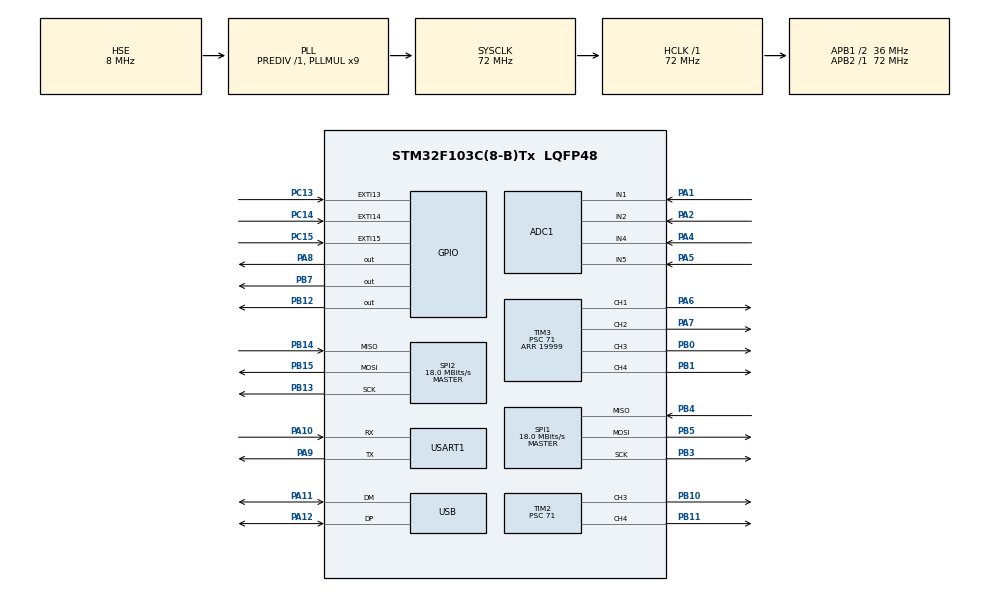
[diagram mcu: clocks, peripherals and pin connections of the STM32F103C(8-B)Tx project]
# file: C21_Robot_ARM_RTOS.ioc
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ADC1.Channel-0\#ChannelRegularConversion=ADC_CHANNEL_2
ADC1.Channel-1\#ChannelRegularConversion=ADC_CHANNEL_1
ADC1.Channel-2\#ChannelRegularConversion=ADC_CHANNEL_4
ADC1.Channel-3\#ChannelRegularConversion=ADC_CHANNEL_5
ADC1.ContinuousConvMode=ENABLE
ADC1.NbrOfConversion=4
ADC1.NbrOfConversionFlag=1
ADC1.Rank-0\#ChannelRegularConversion=1
ADC1.Rank-1\#ChannelRegularConversion=2
ADC1.Rank-2\#ChannelRegularConversion=3
ADC1.Rank-3\#ChannelRegularConversion=4
ADC1.SamplingTime-0\#ChannelRegularConversion=ADC_SAMPLETIME_239CYCLES_5
ADC1.SamplingTime-1\#ChannelRegularConversion=ADC_SAMPLETIME_239CYCLES_5
ADC1.SamplingTime-2\#ChannelRegularConversion=ADC_SAMPLETIME_239CYCLES_5
ADC1.SamplingTime-3\#ChannelRegularConversion=ADC_SAMPLETIME_239CYCLES_5
ADC1.master=1
Dma.ADC1.0.Direction=DMA_PERIPH_TO_MEMORY
Dma.ADC1.0.Instance=DMA1_Channel1
Dma.ADC1.0.MemDataAlignment=DMA_MDATAALIGN_HALFWORD
Dma.ADC1.0.MemInc=DMA_MINC_ENABLE
Dma.ADC1.0.Mode=DMA_CIRCULAR
Dma.ADC1.0.PeriphDataAlignment=DMA_PDATAALIGN_HALFWORD
Dma.ADC1.0.PeriphInc=DMA_PINC_DISABLE
Dma.ADC1.0.Priority=DMA_PRIORITY_LOW
Dma.Request0=ADC1
FATFS._FS_TINY=1
FATFS._USE_LFN=2
FREERTOS.Tasks01=control_servo,3,128,StartDefaultTask,Default,NULL,Dynamic,NULL,NULL;update_lcd,0,128,update_state,Default,NULL,Dynamic,NULL,NULL
Mcu.Family=STM32F1
Mcu.Name=STM32F103C(8-B)Tx
Mcu.Package=LQFP48
NVIC.DMA1_Channel1_IRQn=true\:0\:0\:false\:false\:true\:true\:false\:true
NVIC.PriorityGroup=NVIC_PRIORITYGROUP_4
NVIC.TIM4_IRQn=true\:0\:0\:false\:false\:true\:false\:false\:true
NVIC.TimeBase=TIM4_IRQn
NVIC.TimeBaseIP=TIM4
NVIC.USB_LP_CAN1_RX0_IRQn=true\:0\:0\:false\:false\:true\:false\:false\:true
PA1.Signal=ADCx_IN1
PA10.Mode=Asynchronous
PA10.Signal=USART1_RX
PA11.Mode=Device
PA11.Signal=USB_DM
PA12.Mode=Device
PA12.Signal=USB_DP
PA13.Mode=Serial_Wire
PA13.Signal=SYS_JTMS-SWDIO
PA14.Mode=Serial_Wire
PA14.Signal=SYS_JTCK-SWCLK
PA2.Signal=ADCx_IN2
PA4.Signal=ADCx_IN4
PA5.Signal=ADCx_IN5
PA6.Signal=S_TIM3_CH1
PA7.Signal=S_TIM3_CH2
PA8.Signal=GPIO_Output
PA9.Mode=Asynchronous
PA9.Signal=USART1_TX
PB0.Signal=S_TIM3_CH3
PB1.Signal=S_TIM3_CH4
PB10.Signal=S_TIM2_CH3
PB11.Signal=S_TIM2_CH4
PB12.Signal=GPIO_Output
PB13.Mode=Full_Duplex_Master
PB13.Signal=SPI2_SCK
PB14.Mode=Full_Duplex_Master
PB14.Signal=SPI2_MISO
PB15.Mode=Full_Duplex_Master
PB15.Signal=SPI2_MOSI
PB3.Mode=Full_Duplex_Master
PB3.Signal=SPI1_SCK
PB4.Mode=Full_Duplex_Master
PB4.Signal=SPI1_MISO
PB5.Mode=Full_Duplex_Master
PB5.Signal=SPI1_MOSI
PB7.Signal=GPIO_Output
PC13-TAMPER-RTC.Signal=GPXTI13
PC14-OSC32_IN.Signal=GPXTI14
PC15-OSC32_OUT.Signal=GPXTI15
PD0-OSC_IN.Mode=HSE-External-Oscillator
PD0-OSC_IN.Signal=RCC_OSC_IN
PD1-OSC_OUT.Mode=HSE-External-Oscillator
PD1-OSC_OUT.Signal=RCC_OSC_OUT
ProjectManager.HeapSize=0x200
ProjectManager.StackSize=0x400
ProjectManager.TargetToolchain=STM32CubeIDE
RCC.ADCPresc=RCC_ADCPCLK2_DIV8
RCC.AHBFreq_Value=72000000
RCC.APB1CLKDivider=RCC_HCLK_DIV2
RCC.APB1Freq_Value=36000000
RCC.APB1TimFreq_Value=72000000
RCC.APB2Freq_Value=72000000
RCC.APB2TimFreq_Value=72000000
RCC.HCLKFreq_Value=72000000
RCC.PLLMUL=RCC_PLL_MUL9
RCC.SYSCLKFreq_VALUE=72000000
RCC.SYSCLKSource=RCC_SYSCLKSOURCE_PLLCLK
RCC.USBFreq_Value=48000000
RCC.USBPrescaler=RCC_USBCLKSOURCE_PLL_DIV1_5
SH.ADCx_IN1.0=ADC1_IN1,IN1
SH.ADCx_IN2.0=ADC1_IN2,IN2
SH.ADCx_IN4.0=ADC1_IN4,IN4
SH.ADCx_IN5.0=ADC1_IN5,IN5
SH.S_TIM2_CH3.0=TIM2_CH3,PWM Generation3 CH3
SH.S_TIM2_CH4.0=TIM2_CH4,PWM Generation4 CH4
SH.S_TIM3_CH1.0=TIM3_CH1,PWM Generation1 CH1
SH.S_TIM3_CH2.0=TIM3_CH2,PWM Generation2 CH2
SH.S_TIM3_CH3.0=TIM3_CH3,PWM Generation3 CH3
SH.S_TIM3_CH4.0=TIM3_CH4,PWM Generation4 CH4
SPI1.BaudRatePrescaler=SPI_BAUDRATEPRESCALER_4
SPI1.CalculateBaudRate=18.0 MBits/s
SPI1.Direction=SPI_DIRECTION_2LINES
SPI1.Mode=SPI_MODE_MASTER
SPI1.VirtualType=VM_MASTER
SPI2.CalculateBaudRate=18.0 MBits/s
SPI2.Direction=SPI_DIRECTION_2LINES
SPI2.Mode=SPI_MODE_MASTER
SPI2.VirtualType=VM_MASTER
TIM2.Channel-PWM\ Generation3\ CH3=TIM_CHANNEL_3
TIM2.Channel-PWM\ Generation4\ CH4=TIM_CHANNEL_4
TIM2.Period=19999
TIM2.Prescaler=71
TIM3.Channel-PWM\ Generation1\ CH1=TIM_CHANNEL_1
TIM3.Channel-PWM\ Generation2\ CH2=TIM_CHANNEL_2
TIM3.Channel-PWM\ Generation3\ CH3=TIM_CHANNEL_3
TIM3.Channel-PWM\ Generation4\ CH4=TIM_CHANNEL_4
TIM3.Period=19999
TIM3.Prescaler=71
USART1.VirtualMode=VM_ASYNC
USB_DEVICE.CLASS_NAME_FS=CDC
USB_DEVICE.VirtualMode=Cdc
USB_DEVICE.VirtualModeFS=Cdc_FS
VP_FATFS_VS_Generic.Mode=User_defined
VP_FREERTOS_VS_CMSIS_V1.Mode=CMSIS_V1
VP_SYS_VS_tim4.Mode=TIM4
VP_TIM1_VS_ClockSourceINT.Mode=Internal
VP_TIM3_VS_ClockSourceINT.Mode=Internal
VP_USB_DEVICE_VS_USB_DEVICE_CDC_FS.Mode=CDC_FS
board=custom

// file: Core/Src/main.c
/* USER CODE BEGIN Header */
/**
  ******************************************************************************
  * @file           : main.c
  * @brief          : Main program body
  ******************************************************************************
  * @attention
  *
  * <h2><center>&copy; Copyright (c) 2020 STMicroelectronics.
  * All rights reserved.</center></h2>
  *
  * This software component is licensed by ST under BSD 3-Clause license,
  * the "License"; You may not use this file except in compliance with the
  * License. You may obtain a copy of the License at:
  *                        opensource.org/licenses/BSD-3-Clause
  *
  ******************************************************************************
  */
/* USER CODE END Header */
#include "main.h"
#include "cmsis_os.h"
#include "fatfs.h"
#include "usb_device.h"
#include "usbd_cdc_if.h"
/* USER CODE BEGIN Includes */
#include "st7735.h"
/* USER CODE END Includes */

ADC_HandleTypeDef hadc1;
DMA_HandleTypeDef hdma_adc1;

SPI_HandleTypeDef hspi1;
SPI_HandleTypeDef hspi2;

TIM_HandleTypeDef htim1;
TIM_HandleTypeDef htim2;
TIM_HandleTypeDef htim3;

UART_HandleTypeDef huart1;

osThreadId control_servoHandle;
osThreadId update_lcdHandle;
/* USER CODE BEGIN PV */
FATFS fs ;
FATFS  * pfs ;
FIL fil ;
FRESULT fres ;
DWORD fre_clust ;
//uint32_t total , free ;
char buffer [ 100 ] ;

uint16_t joystick_value[6];
uint8_t calib1,calib2;

extern ADC_HandleTypeDef hadc1;
extern TIM_HandleTypeDef htim2;
extern TIM_HandleTypeDef htim3;
/* USER CODE END PV */

void SystemClock_Config(void);
static void MX_GPIO_Init(void);
static void MX_DMA_Init(void);
static void MX_ADC1_Init(void);
static void MX_SPI2_Init(void);
static void MX_TIM1_Init(void);
static void MX_TIM2_Init(void);
static void MX_TIM3_Init(void);
static void MX_SPI1_Init(void);
static void MX_USART1_UART_Init(void);
void StartDefaultTask(void const * argument);
void update_state(void const * argument);

/* USER CODE BEGIN 0 */

void turn_on(){
	  HAL_TIM_PWM_Start(&htim2,TIM_CHANNEL_1);
	  HAL_TIM_PWM_Start(&htim2,TIM_CHANNEL_3);
	  HAL_TIM_PWM_Start(&htim2,TIM_CHANNEL_4);
	  HAL_TIM_PWM_Start(&htim3,TIM_CHANNEL_1);
	  HAL_TIM_PWM_Start(&htim3,TIM_CHANNEL_2);
	  HAL_TIM_PWM_Start(&htim3,TIM_CHANNEL_3);
	  HAL_TIM_PWM_Start(&htim3,TIM_CHANNEL_4);

}
void set_home(){

	  __HAL_TIM_SET_COMPARE(&htim2, TIM_CHANNEL_1, 1500);
	  __HAL_TIM_SET_COMPARE(&htim2, TIM_CHANNEL_3, 1500);
	  __HAL_TIM_SET_COMPARE(&htim2, TIM_CHANNEL_4, 1500);
	  __HAL_TIM_SET_COMPARE(&htim3, TIM_CHANNEL_1, 1500);
	  __HAL_TIM_SET_COMPARE(&htim3, TIM_CHANNEL_2, 1500);
	  __HAL_TIM_SET_COMPARE(&htim3, TIM_CHANNEL_3, 1500);
	  __HAL_TIM_SET_COMPARE(&htim3, TIM_CHANNEL_4, 1500);
}
/* USER CODE END 0 */

int main(void)
{

  /* MCU Configuration--------------------------------------------------------*/

  /* Reset of all peripherals, Initializes the Flash interface and the Systick. */
  HAL_Init();

  /* Configure the system clock */
  SystemClock_Config();

  /* Initialize all configured peripherals */
  MX_GPIO_Init();
  MX_DMA_Init();
  MX_ADC1_Init();
  MX_SPI2_Init();
  MX_TIM1_Init();
  MX_TIM2_Init();
  MX_TIM3_Init();
  MX_FATFS_Init();
  MX_SPI1_Init();
  MX_USART1_UART_Init();
  /* USER CODE BEGIN 2 */
   ST7735_Init();
   ST7735_FillScreen(ST7735_WHITE);
   int i = 0;

   fres = f_mount ( &fs ,  "" ,   1);
      while ( fres !=  FR_OK ){
    	  fres = f_mount ( &fs ,  "" ,   1);
    	  HAL_Delay(100);
      }

      HAL_ADC_Start_DMA(&hadc1,joystick_value,4);
         float temp1,temp2;
         for(int i = 0 ; i < 100; i++){
             temp1 += floor(joystick_value[1]/4096.0*255);
             temp2 += floor(joystick_value[2]/4096.0*255);
             HAL_Delay(2);
         }
         temp1/=100;
         temp2/=100;

         calib1 = (uint8_t) temp1;
         calib2 = (uint8_t) temp2;

//   ST7735_DrawImage(0, 0, 128, 128, &back_ground);
  /* USER CODE END 2 */

  /* Create the thread(s) */
  /* definition and creation of control_servo */
  osThreadDef(control_servo, StartDefaultTask, osPriorityRealtime, 0, 128);
  control_servoHandle = osThreadCreate(osThread(control_servo), NULL);

  /* definition and creation of update_lcd */
  osThreadDef(update_lcd, update_state, osPriorityNormal, 0, 128);
  update_lcdHandle = osThreadCreate(osThread(update_lcd), NULL);

  /* Start scheduler */
  osKernelStart();

  /* We should never get here as control is now taken by the scheduler */
  /* Infinite loop */
  while (1)
  {

  }
}

void SystemClock_Config(void)
{
  RCC_OscInitTypeDef RCC_OscInitStruct = {0};
  RCC_ClkInitTypeDef RCC_ClkInitStruct = {0};
  RCC_PeriphCLKInitTypeDef PeriphClkInit = {0};

  /** Initializes the RCC Oscillators according to the specified parameters
  * in the RCC_OscInitTypeDef structure.
  */
  RCC_OscInitStruct.OscillatorType = RCC_OSCILLATORTYPE_HSE;
  RCC_OscInitStruct.HSEState = RCC_HSE_ON;
  RCC_OscInitStruct.HSEPredivValue = RCC_HSE_PREDIV_DIV1;
  RCC_OscInitStruct.HSIState = RCC_HSI_ON;
  RCC_OscInitStruct.PLL.PLLState = RCC_PLL_ON;
  RCC_OscInitStruct.PLL.PLLSource = RCC_PLLSOURCE_HSE;
  RCC_OscInitStruct.PLL.PLLMUL = RCC_PLL_MUL9;
  if (HAL_RCC_OscConfig(&RCC_OscInitStruct) != HAL_OK)
  {
    Error_Handler();
  }
  /** Initializes the CPU, AHB and APB buses clocks
  */
  RCC_ClkInitStruct.ClockType = RCC_CLOCKTYPE_HCLK|RCC_CLOCKTYPE_SYSCLK
                              |RCC_CLOCKTYPE_PCLK1|RCC_CLOCKTYPE_PCLK2;
  RCC_ClkInitStruct.SYSCLKSource = RCC_SYSCLKSOURCE_PLLCLK;
  RCC_ClkInitStruct.AHBCLKDivider = RCC_SYSCLK_DIV1;
  RCC_ClkInitStruct.APB1CLKDivider = RCC_HCLK_DIV2;
  RCC_ClkInitStruct.APB2CLKDivider = RCC_HCLK_DIV1;

  if (HAL_RCC_ClockConfig(&RCC_ClkInitStruct, FLASH_LATENCY_2) != HAL_OK)
  {
    Error_Handler();
  }
  PeriphClkInit.PeriphClockSelection = RCC_PERIPHCLK_ADC|RCC_PERIPHCLK_USB;
  PeriphClkInit.AdcClockSelection = RCC_ADCPCLK2_DIV8;
  PeriphClkInit.UsbClockSelection = RCC_USBCLKSOURCE_PLL_DIV1_5;
  if (HAL_RCCEx_PeriphCLKConfig(&PeriphClkInit) != HAL_OK)
  {
    Error_Handler();
  }
}

void StartDefaultTask(void const * argument)
{
  /* init code for USB_DEVICE */
  MX_USB_DEVICE_Init();
  /* USER CODE BEGIN 5 */
  /* Infinite loop */
  for(;;)
  {
	  __HAL_TIM_SET_COMPARE(&htim2, TIM_CHANNEL_1, 1500);
      __HAL_TIM_SET_COMPARE(&htim2, TIM_CHANNEL_3, 1500);
	  __HAL_TIM_SET_COMPARE(&htim2, TIM_CHANNEL_4, 1500);
	  __HAL_TIM_SET_COMPARE(&htim3, TIM_CHANNEL_1, 1500);
	  __HAL_TIM_SET_COMPARE(&htim3, TIM_CHANNEL_2, 1500);
	  __HAL_TIM_SET_COMPARE(&htim3, TIM_CHANNEL_3, 1500);
	  __HAL_TIM_SET_COMPARE(&htim3, TIM_CHANNEL_4, 1500);
    osDelay(2);
  }
  /* USER CODE END 5 */
}

void update_state(void const * argument)
{
  /* USER CODE BEGIN update_state */
  /* Infinite loop */
  for(;;)
  {
//	  uint8_t buffer[] = "Hello, World!\r\n";
//	  CDC_Transmit_FS(buffer, sizeof(buffer));

	  ST7735_FillRectangle(0, 30, 10, 40, ST7735_BLUE);
    osDelay(100);
  }
  /* USER CODE END update_state */
}

void HAL_TIM_PeriodElapsedCallback(TIM_HandleTypeDef *htim)
{
  if (htim->Instance == TIM4) {
    HAL_IncTick();
  }
}

void Error_Handler(void)
{
}

/************************ (C) COPYRIGHT STMicroelectronics *****END OF FILE****/
